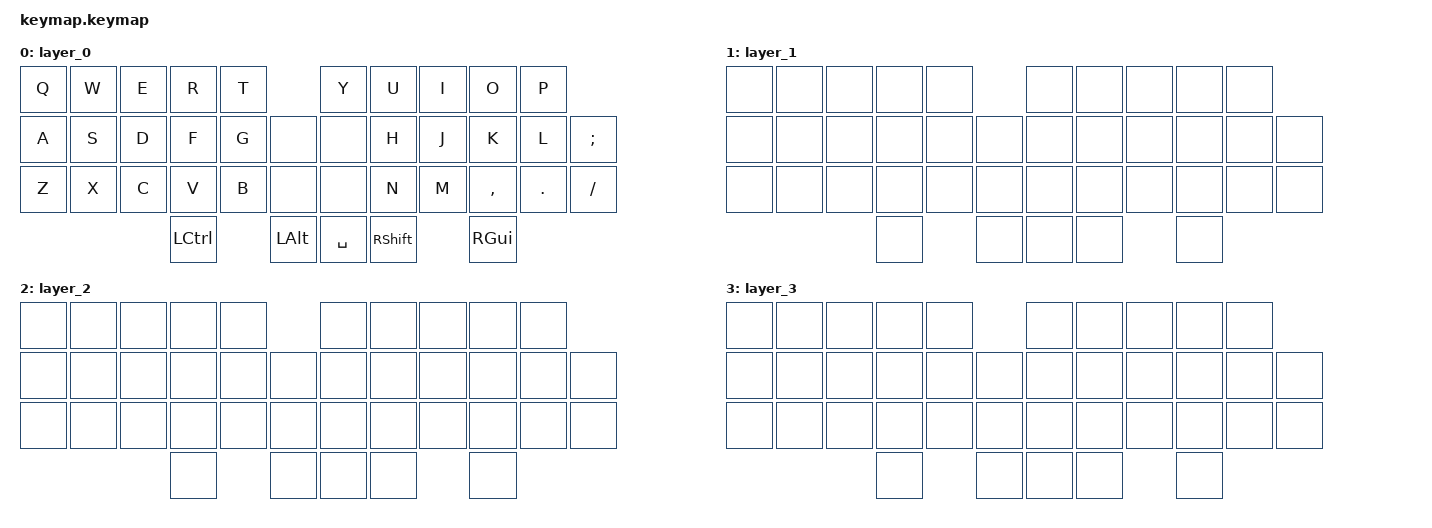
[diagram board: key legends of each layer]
#include <behaviors.dtsi>
#include <dt-bindings/zmk/keys.h>

/ {
    keymap {
        compatible = "zmk,keymap";

        layer_0 {
            bindings = <
                &kp Q &kp W &kp E &kp R &kp T         &kp Y &kp U &kp I &kp O &kp P
                &kp A &kp S &kp D &kp F &kp G &none &none &kp H &kp J &kp K &kp L &kp SEMI
                &kp Z &kp X &kp C &kp V &kp B &none &none &kp N &kp M &kp COMMA &kp DOT &kp FSLH
                                  &kp LCTRL &kp LALT &kp SPC &kp RSHFT &kp RGUI
            >;
        };

        layer_1 {
            bindings = <
                &none &none &none &none &none         &none &none &none &none &none
                &none &none &none &none &none &none &none &none &none &none &none &none
                &none &none &none &none &none &none &none &none &none &none &none &none
                                  &none &none &none &none &none
            >;
        };

        layer_2 {
            bindings = <
                &none &none &none &none &none         &none &none &none &none &none
                &none &none &none &none &none &none &none &none &none &none &none &none
                &none &none &none &none &none &none &none &none &none &none &none &none
                                  &none &none &none &none &none
            >;
        };

        layer_3 {
            bindings = <
                &none &none &none &none &none         &none &none &none &none &none
                &none &none &none &none &none &none &none &none &none &none &none &none
                &none &none &none &none &none &none &none &none &none &none &none &none
                                  &none &none &none &none &none
            >;
        };
    };
};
